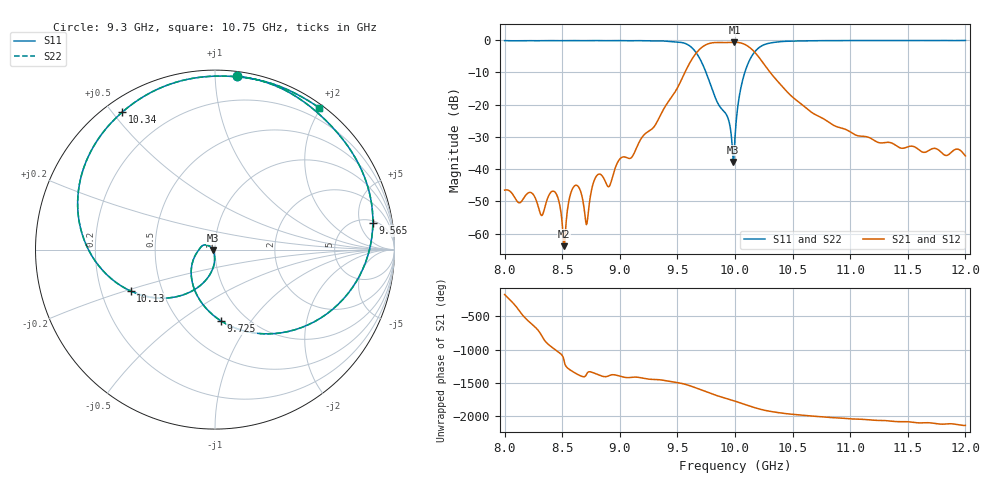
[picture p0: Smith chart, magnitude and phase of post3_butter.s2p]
! 3rd-order post, Butterworth (base-paper dimensions)
! openEMS v0.37 FDTD, reciprocal & symmetric: S22=S11, S12=S21
# GHz S MA R 50
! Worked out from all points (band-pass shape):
!   801 points, 8 GHz to 12 GHz, reference 50 ohm
!   highest |S21| = -0.65 dB at 9.995 GHz (marker M1); lowest = -63.9 dB at 8.515 GHz (marker M2)
!   |S21| within 3 dB of the highest: 9.671 GHz to 10.17 GHz (497.4 MHz wide, 5.01 % of centre)
!   lowest |S11| = -37.7 dB at 9.985 GHz (marker M3), VSWR 1.03, Z = 48.8 - j0.301 ohm
!   |S11| at or under -10 dB: 9.748 GHz to 10.09 GHz (336.6 MHz wide, 3.39 % of centre)
!   |S22| runs from -37.7 to -0.1 dB; largest |S21 - S12| = 0
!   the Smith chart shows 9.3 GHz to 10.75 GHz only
!   S11 on the Smith chart (normalised r, x): 9.3 GHz: 0.03, +1.14; 9.565 GHz: 5.55, +8.12; 9.725 GHz: 0.77, -0.73; 10.13 GHz: 0.33, -0.21; 10.34 GHz: 0.05, +0.53; 10.75 GHz: 0.05, +1.98
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8  0.9827 -115.2  0.004732 -168.6  0.004732 -168.6  0.9827 -115.2
8.32  0.9829 -151.5  0.001914 -65.5  0.001914 -65.5  0.9829 -151.5
8.43  0.9817 -164.3  0.004517 90.3  0.004517 90.3  0.9817 -164.3
8.515  0.9835 -173.7  0.000641 -76.9  0.000641 -76.9  0.9835 -173.7
8.59  0.9853 177.5  0.005007 108.7  0.005007 108.7  0.9853 177.5
8.67  0.9812 168.4  0.003929 35.8  0.003929 35.8  0.9812 168.4
8.715  0.9841 163.3  0.001439 79.4  0.001439 79.4  0.9841 163.3
8.8  0.9845 152.9  0.007943 68.3  0.007943 68.3  0.9845 152.9
9.3  0.9737 82.6  0.04617 -10.9  0.04617 -10.9  0.9737 82.6
9.335  0.975 75.8  0.05927 -13.7  0.05927 -13.7  0.975 75.8
9.565  0.8922 9.6  0.3155 -83.1  0.3155 -83.1  0.8922 9.6
9.725  0.3994 -85.1  0.8043 178.3  0.8043 178.3  0.3994 -85.1
9.85  0.1059 -168.5  0.9192 100.6  0.9192 100.6  0.1059 -168.5
9.985  0.01299 -166.3  0.9275 29.2  0.9275 29.2  0.01299 -166.3
9.995  0.02138 -105.8  0.9278 23.8  0.9278 23.8  0.02138 -105.8
10  0.03107 -96.5  0.9276 21.0  0.9276 21.0  0.03107 -96.5
10.135  0.5237 -153.8  0.7506 -57.5  0.7506 -57.5  0.5237 -153.8
10.34  0.9241 124.0  0.2656 -142.8  0.2656 -142.8  0.9241 124.0
10.67  0.9785 63.9  0.07501 155.3  0.07501 155.3  0.9785 63.9
10.75  0.9806 53.6  0.06295 145.1  0.06295 145.1  0.9806 53.6
11.335  0.9854 -8.6  0.02608 82.6  0.02608 82.6  0.9854 -8.6
12  0.9884 -69.0  0.01605 14.2  0.01605 14.2  0.9884 -69.0
